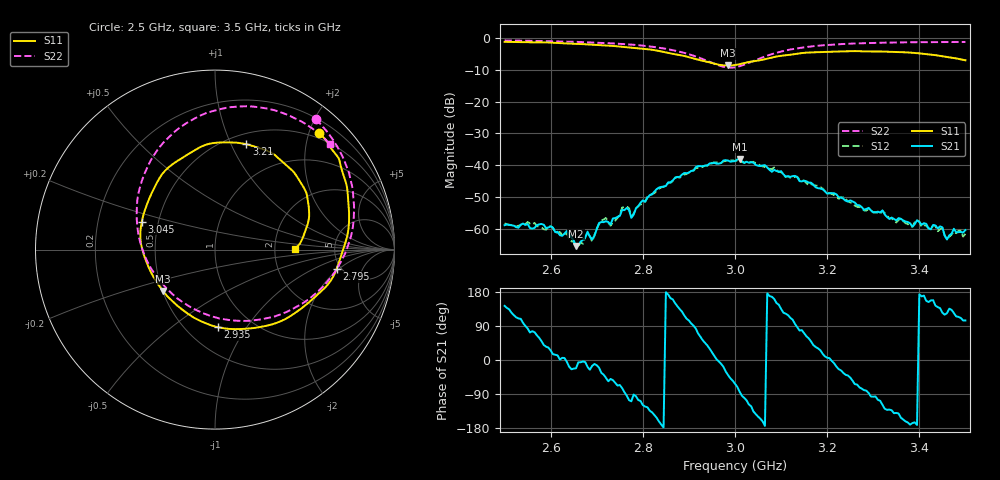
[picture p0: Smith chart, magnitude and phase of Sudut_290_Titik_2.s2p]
# Hz S RI R 50
! CMT, C1220, 16058040, 17.2.0/1
! Date: 15/08/2018 10:52:43
! Data: Format (Calibration Info)
! Freq  S11: Re/Im (F2)  S21: Re/Im (F2)  S12: Re/Im (F2)  S22: Re/Im (F2)
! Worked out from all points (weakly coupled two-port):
!   201 points, 2.5 GHz to 3.5 GHz, reference 50 ohm
!   highest |S21| = -38.05 dB at 3.01 GHz (marker M1); lowest = -65.5 dB at 2.655 GHz (marker M2)
!   lowest |S11| = -8.6 dB at 2.985 GHz (marker M3), VSWR 2.18, Z = 25.1 - j13.4 ohm
!   |S11| at or under -10 dB: nowhere
!   |S22| runs from -9.3 to -0.7 dB; largest |S21 - S12| = 0.00089
!   S11 on the Smith chart (normalised r, x): 2.5 GHz: 0.40, +2.17; 2.795 GHz: 4.57, -1.87; 2.935 GHz: 0.70, -0.75; 3.045 GHz: 0.40, +0.16; 3.21 GHz: 0.61, +1.14; 3.5 GHz: 2.62, +0.02
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2.5e9  0.58 0.6524  -0.000901 0.000682  -0.000978 0.000701  0.5615 0.7269
2.635e9  0.7235 0.3913  0.000913 -7.47e-05  0.000821 -0.000156  0.7053 0.5291
2.655e9  0.7354 0.3462  0.000493 -0.000198  0.000547 -0.00014  0.723 0.4894
2.67e9  0.7391 0.3155  0.000662 -4.6e-05  0.000565 -9.57e-05  0.7357 0.4568
2.69e9  0.7442 0.2513  0.000649 -0.000179  0.000602 -0.000154  0.7505 0.4113
2.71e9  0.7471 0.1918  0.00105 -0.000707  0.00114 -0.00068  0.7626 0.3589
2.73e9  0.7456 0.1364  0.000749 -0.000891  0.000656 -0.000894  0.7696 0.3062
2.765e9  0.7171 0.0108  -0.000147 -0.0021  -0.000187 -0.00221  0.7738 0.2004
2.775e9  0.7057 -0.0243  -0.000483 -0.0014  -0.000521 -0.00147  0.7723 0.1654
2.795e9  0.6772 -0.1083  -0.000795 -0.00243  -0.000782 -0.00226  0.7624 0.0939
2.835e9  0.5774 -0.2455  -0.00422 -0.00135  -0.00401 -0.00148  0.7032 -0.065
2.935e9  0.0149 -0.4322  0.00689 0.00697  0.00665 0.00723  0.2244 -0.3929
2.985e9  -0.2905 -0.2308  0.00906 -0.00757  0.00949 -0.00723  -0.1734 -0.2975
3e9  -0.3514 -0.1371  0.00531 -0.0103  0.00482 -0.0105  -0.2743 -0.2113
3.01e9  -0.3818 -0.0689  0.00138 -0.0124  0.00138 -0.0118  -0.3306 -0.144
3.045e9  -0.4074 0.1565  -0.008 -0.00605  -0.00835 -0.00664  -0.4328 0.1286
3.17e9  0.0239 0.5965  0.00378 0.0031  0.00354 0.00341  -0.0945 0.7402
3.21e9  0.1743 0.5877  0.00362 -0.000143  0.0035 -0.000407  0.0512 0.7877
3.335e9  0.4663 0.3913  -0.000925 -0.00107  -0.00102 -0.00104  0.3892 0.7568
3.445e9  0.51 0.1241  -0.000788 0.000742  -0.000722 0.00066  0.5746 0.6487
3.46e9  0.4965 0.0859  -0.000372 0.00056  -0.00035 0.000578  0.5946 0.6339
3.5e9  0.4473 0.00264  -0.000236 0.000919  -0.000167 0.000811  0.6418 0.587
